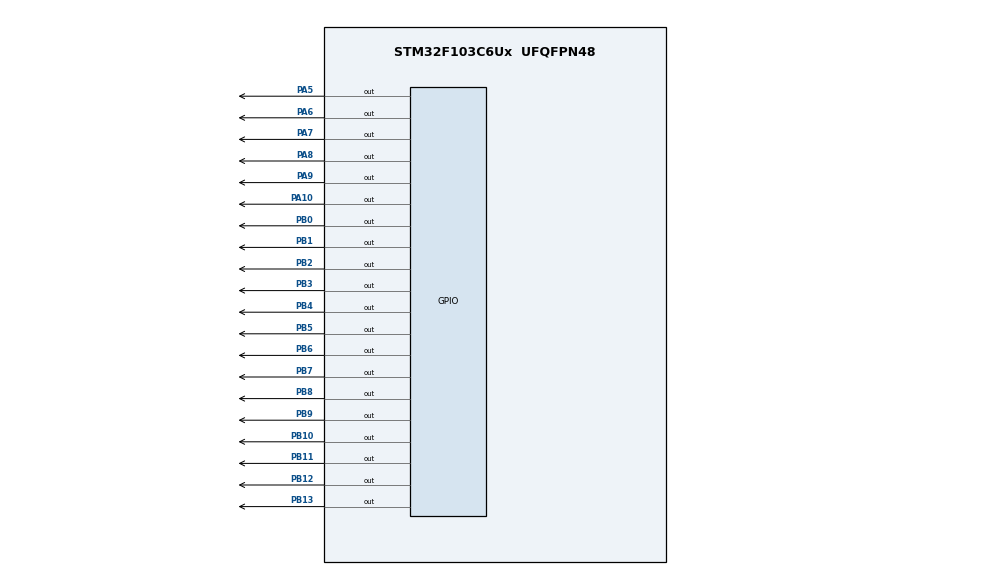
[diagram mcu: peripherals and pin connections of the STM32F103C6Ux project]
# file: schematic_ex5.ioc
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Mcu.Family=STM32F1
Mcu.Name=STM32F103C6Ux
Mcu.Package=UFQFPN48
NVIC.PriorityGroup=NVIC_PRIORITYGROUP_4
PA10.Signal=GPIO_Output
PA13.Mode=Serial_Wire
PA13.Signal=SYS_JTMS-SWDIO
PA14.Mode=Serial_Wire
PA14.Signal=SYS_JTCK-SWCLK
PA5.Signal=GPIO_Output
PA6.Signal=GPIO_Output
PA7.Signal=GPIO_Output
PA8.Signal=GPIO_Output
PA9.Signal=GPIO_Output
PB0.Signal=GPIO_Output
PB1.Signal=GPIO_Output
PB10.Signal=GPIO_Output
PB11.Signal=GPIO_Output
PB12.Signal=GPIO_Output
PB13.Signal=GPIO_Output
PB2.Signal=GPIO_Output
PB3.Signal=GPIO_Output
PB4.Signal=GPIO_Output
PB5.Signal=GPIO_Output
PB6.Signal=GPIO_Output
PB7.Signal=GPIO_Output
PB8.Signal=GPIO_Output
PB9.Signal=GPIO_Output
ProjectManager.HeapSize=0x200
ProjectManager.StackSize=0x400
ProjectManager.TargetToolchain=STM32CubeIDE
RCC.APB1Freq_Value=8000000
RCC.APB2Freq_Value=8000000
board=custom

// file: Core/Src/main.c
	/* USER CODE BEGIN Header */
/**
  ******************************************************************************
  * @file           : main.c
  * @brief          : Main program body
  ******************************************************************************
  * @attention
  *
  * <h2><center>&copy; Copyright (c) 2026 STMicroelectronics.
  * All rights reserved.</center></h2>
  *
  * This software component is licensed by ST under BSD 3-Clause license,
  * the "License"; You may not use this file except in compliance with the
  * License. You may obtain a copy of the License at:
  *                        opensource.org/licenses/BSD-3-Clause
  *
  ******************************************************************************
  */
/* USER CODE END Header */
#include "main.h"

void SystemClock_Config(void);
static void MX_GPIO_Init(void);

/* USER CODE BEGIN 0 */
static const uint8_t seg_code[10] = {
	0b1000000, //0: a,b,c,d,e,f
	0b1111001, //1: b,c
	0b0100100, //2: a,b,d,e,g
	0b0110000, //3: a,b,c,d,g
	0b0011001, //4: b,c,f,g
	0b0010010, //5: a,c,d,f,g
	0b0000010, //6: a,c,d,e,f,g
	0b1111000, //7: a,b,c
	0b0000000, //8: a,b,c,d,e,f,g
	0b0010000, //9: a,b,c,d,f,g
};
//dieu khien den north south
void display7SEG_NS(int num)
{
    if (num < 0 || num > 9) return;
    uint8_t code = seg_code[num];
    HAL_GPIO_WritePin(GPIOB, GPIO_PIN_0, (code & 0x01) ? GPIO_PIN_SET : GPIO_PIN_RESET);
    HAL_GPIO_WritePin(GPIOB, GPIO_PIN_1, (code & 0x02) ? GPIO_PIN_SET : GPIO_PIN_RESET);
    HAL_GPIO_WritePin(GPIOB, GPIO_PIN_2, (code & 0x04) ? GPIO_PIN_SET : GPIO_PIN_RESET);
    HAL_GPIO_WritePin(GPIOB, GPIO_PIN_3, (code & 0x08) ? GPIO_PIN_SET : GPIO_PIN_RESET);
    HAL_GPIO_WritePin(GPIOB, GPIO_PIN_4, (code & 0x10) ? GPIO_PIN_SET : GPIO_PIN_RESET);
    HAL_GPIO_WritePin(GPIOB, GPIO_PIN_5, (code & 0x20) ? GPIO_PIN_SET : GPIO_PIN_RESET);
    HAL_GPIO_WritePin(GPIOB, GPIO_PIN_6, (code & 0x40) ? GPIO_PIN_SET : GPIO_PIN_RESET);
}

void display7SEG_EW(int num)
{
	if (num < 0 || num > 9) return;
	    uint8_t code = seg_code[num];
	    HAL_GPIO_WritePin(GPIOB, GPIO_PIN_7,  (code & 0x01) ? GPIO_PIN_SET : GPIO_PIN_RESET);
	    HAL_GPIO_WritePin(GPIOB, GPIO_PIN_8,  (code & 0x02) ? GPIO_PIN_SET : GPIO_PIN_RESET);
	    HAL_GPIO_WritePin(GPIOB, GPIO_PIN_9,  (code & 0x04) ? GPIO_PIN_SET : GPIO_PIN_RESET);
	    HAL_GPIO_WritePin(GPIOB, GPIO_PIN_10, (code & 0x08) ? GPIO_PIN_SET : GPIO_PIN_RESET);
	    HAL_GPIO_WritePin(GPIOB, GPIO_PIN_11, (code & 0x10) ? GPIO_PIN_SET : GPIO_PIN_RESET);
	    HAL_GPIO_WritePin(GPIOB, GPIO_PIN_12, (code & 0x20) ? GPIO_PIN_SET : GPIO_PIN_RESET);
	    HAL_GPIO_WritePin(GPIOB, GPIO_PIN_13, (code & 0x40) ? GPIO_PIN_SET : GPIO_PIN_RESET);
}
/* USER CODE END 0 */

int main(void)
{

  /* MCU Configuration--------------------------------------------------------*/

  /* Reset of all peripherals, Initializes the Flash interface and the Systick. */
  HAL_Init();

  /* Configure the system clock */
  SystemClock_Config();

  /* Initialize all configured peripherals */
  MX_GPIO_Init();

  /* Infinite loop */
  /* USER CODE BEGIN WHILE */
  while (1)
  {
	  HAL_GPIO_WritePin(GPIOA, GPIO_PIN_5 | GPIO_PIN_6 | GPIO_PIN_7 |
	  	                               GPIO_PIN_8 | GPIO_PIN_9 | GPIO_PIN_10, GPIO_PIN_SET);
	  //PHASE 1: 3(S)
	  //NORTH - SOUTH: RED (PA5 = RESET, PA6/PA7 = SET)
	  //WEST - EAST: GREEN (PA10 = RESET, PA8/PA9 = SET)
	  HAL_GPIO_WritePin(GPIOA, GPIO_PIN_5 | GPIO_PIN_10, GPIO_PIN_RESET);
	  HAL_GPIO_WritePin(GPIOA, GPIO_PIN_6 | GPIO_PIN_7 | GPIO_PIN_8 | GPIO_PIN_9, GPIO_PIN_SET);
	  for (int i = 0; i < 3; i++) {
		  display7SEG_EW(3 - i);
		  display7SEG_NS(5 - i);
		  HAL_Delay(1000);
	  }

	  HAL_GPIO_WritePin(GPIOA, GPIO_PIN_5 | GPIO_PIN_6 | GPIO_PIN_7 |
	  		                             GPIO_PIN_8 | GPIO_PIN_9 | GPIO_PIN_10, GPIO_PIN_SET);
	  //PHASE 2 (2S)
	  //NORTH - SOUTH: RED (PA5 = RESET, PA6/PA7 = SET)
	  //WEST - EAST: YELLOW (PA9 = RESET, PA8/PA10 = SET)
	  HAL_GPIO_WritePin(GPIOA, GPIO_PIN_5 | GPIO_PIN_9, GPIO_PIN_RESET);
	  HAL_GPIO_WritePin(GPIOA, GPIO_PIN_6 | GPIO_PIN_7 | GPIO_PIN_8 | GPIO_PIN_10, GPIO_PIN_SET);
	  for (int i = 0; i < 2; i++) {
		  display7SEG_EW(2 - i);
		  display7SEG_NS(2 - i);
		  HAL_Delay(1000);
	  }

	  HAL_GPIO_WritePin(GPIOA, GPIO_PIN_5 | GPIO_PIN_6 | GPIO_PIN_7 |
	  		                             GPIO_PIN_8 | GPIO_PIN_9 | GPIO_PIN_10, GPIO_PIN_SET);
	  //PHASE 3 (3S)
	  //NORTH - SOUND: GREEN(PA7 = RESET, PA5/PA6 = SET)
	  //WEST - EAST: RED (PA8 = RESET, PA9/PA10 = SET)
	  HAL_GPIO_WritePin(GPIOA, GPIO_PIN_7 | GPIO_PIN_8 , GPIO_PIN_RESET);
	  HAL_GPIO_WritePin(GPIOA, GPIO_PIN_5 | GPIO_PIN_6 | GPIO_PIN_9 | GPIO_PIN_10, GPIO_PIN_SET);
	  for (int i = 0; i < 3; i++) {
		  display7SEG_EW(5 - i);
		  display7SEG_NS(3 - i);
		  HAL_Delay(1000);
	  }

	  HAL_GPIO_WritePin(GPIOA, GPIO_PIN_5 | GPIO_PIN_6 | GPIO_PIN_7 |
	  		                             GPIO_PIN_8 | GPIO_PIN_9 | GPIO_PIN_10, GPIO_PIN_SET);
	  //PHASE 4 (2S)
	  //NORTH - SOUTH: YELLOW (PA6 = RESET, PA5/PA7 = SET)
	  //WEST - EAST: RED (PA8 = RESET, PA9/PA10 = SET)
	  HAL_GPIO_WritePin(GPIOA, GPIO_PIN_6 | GPIO_PIN_8, GPIO_PIN_RESET);
	  HAL_GPIO_WritePin(GPIOA, GPIO_PIN_5 | GPIO_PIN_7 | GPIO_PIN_9 |GPIO_PIN_10, GPIO_PIN_SET);
	  for (int i = 0; i < 2; i++) {
		  display7SEG_EW(2 - i);
		  display7SEG_NS(2 - i);
		  HAL_Delay(1000);
	  }
    /* USER CODE END WHILE */
  }
}

void SystemClock_Config(void)
{
  RCC_OscInitTypeDef RCC_OscInitStruct = {0};
  RCC_ClkInitTypeDef RCC_ClkInitStruct = {0};

  /** Initializes the RCC Oscillators according to the specified parameters
  * in the RCC_OscInitTypeDef structure.
  */
  RCC_OscInitStruct.OscillatorType = RCC_OSCILLATORTYPE_HSI;
  RCC_OscInitStruct.HSIState = RCC_HSI_ON;
  RCC_OscInitStruct.HSICalibrationValue = RCC_HSICALIBRATION_DEFAULT;
  RCC_OscInitStruct.PLL.PLLState = RCC_PLL_NONE;
  if (HAL_RCC_OscConfig(&RCC_OscInitStruct) != HAL_OK)
  {
    Error_Handler();
  }
  /** Initializes the CPU, AHB and APB buses clocks
  */
  RCC_ClkInitStruct.ClockType = RCC_CLOCKTYPE_HCLK|RCC_CLOCKTYPE_SYSCLK
                              |RCC_CLOCKTYPE_PCLK1|RCC_CLOCKTYPE_PCLK2;
  RCC_ClkInitStruct.SYSCLKSource = RCC_SYSCLKSOURCE_HSI;
  RCC_ClkInitStruct.AHBCLKDivider = RCC_SYSCLK_DIV1;
  RCC_ClkInitStruct.APB1CLKDivider = RCC_HCLK_DIV1;
  RCC_ClkInitStruct.APB2CLKDivider = RCC_HCLK_DIV1;

  if (HAL_RCC_ClockConfig(&RCC_ClkInitStruct, FLASH_LATENCY_0) != HAL_OK)
  {
    Error_Handler();
  }
}

static void MX_GPIO_Init(void)
{
  GPIO_InitTypeDef GPIO_InitStruct = {0};

  /* GPIO Ports Clock Enable */
  __HAL_RCC_GPIOA_CLK_ENABLE();
  __HAL_RCC_GPIOB_CLK_ENABLE();

  /*Configure GPIO pin Output Level */
  HAL_GPIO_WritePin(GPIOA, GPIO_PIN_5|GPIO_PIN_6|GPIO_PIN_7|GPIO_PIN_8
                          |GPIO_PIN_9|GPIO_PIN_10, GPIO_PIN_RESET);

  /*Configure GPIO pin Output Level */
  HAL_GPIO_WritePin(GPIOB, GPIO_PIN_0|GPIO_PIN_1|GPIO_PIN_2|GPIO_PIN_10
                          |GPIO_PIN_11|GPIO_PIN_12|GPIO_PIN_13|GPIO_PIN_3
                          |GPIO_PIN_4|GPIO_PIN_5|GPIO_PIN_6|GPIO_PIN_7
                          |GPIO_PIN_8|GPIO_PIN_9, GPIO_PIN_RESET);

  /*Configure GPIO pins : PA5 PA6 PA7 PA8
                           PA9 PA10 */
  GPIO_InitStruct.Pin = GPIO_PIN_5|GPIO_PIN_6|GPIO_PIN_7|GPIO_PIN_8
                          |GPIO_PIN_9|GPIO_PIN_10;
  GPIO_InitStruct.Mode = GPIO_MODE_OUTPUT_PP;
  GPIO_InitStruct.Pull = GPIO_NOPULL;
  GPIO_InitStruct.Speed = GPIO_SPEED_FREQ_LOW;
  HAL_GPIO_Init(GPIOA, &GPIO_InitStruct);

  /*Configure GPIO pins : PB0 PB1 PB2 PB10
                           PB11 PB12 PB13 PB3
                           PB4 PB5 PB6 PB7
                           PB8 PB9 */
  GPIO_InitStruct.Pin = GPIO_PIN_0|GPIO_PIN_1|GPIO_PIN_2|GPIO_PIN_10
                          |GPIO_PIN_11|GPIO_PIN_12|GPIO_PIN_13|GPIO_PIN_3
                          |GPIO_PIN_4|GPIO_PIN_5|GPIO_PIN_6|GPIO_PIN_7
                          |GPIO_PIN_8|GPIO_PIN_9;
  GPIO_InitStruct.Mode = GPIO_MODE_OUTPUT_PP;
  GPIO_InitStruct.Pull = GPIO_NOPULL;
  GPIO_InitStruct.Speed = GPIO_SPEED_FREQ_LOW;
  HAL_GPIO_Init(GPIOB, &GPIO_InitStruct);

}

void Error_Handler(void)
{
  __disable_irq();
  while (1)
  {
  }
}

/************************ (C) COPYRIGHT STMicroelectronics *****END OF FILE****/
